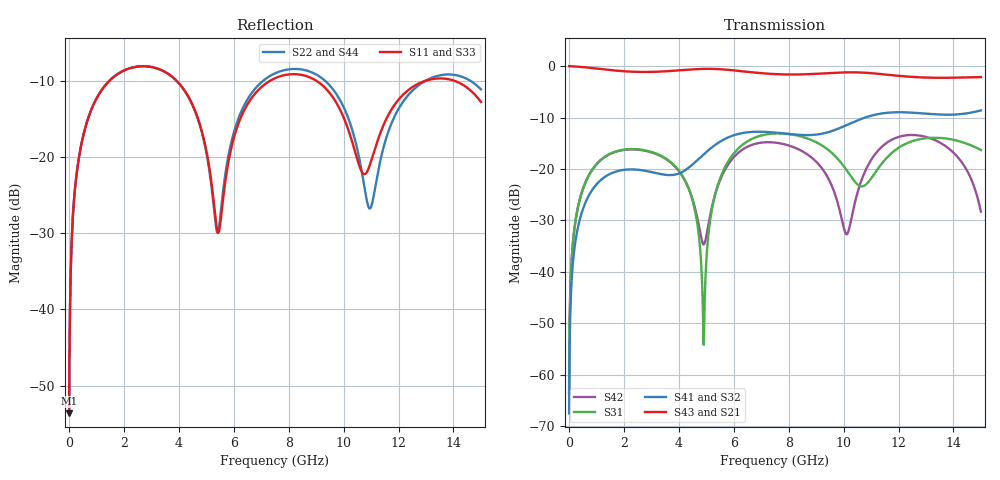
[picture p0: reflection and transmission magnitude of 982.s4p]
! Created with skrf 1.8.0 (http://scikit-rf.org).
# GHz S RI R 50.0
!freq ReS11 ImS11 ReS12 ImS12 ReS13 ImS13
! ReS14 ImS14
! ReS21 ImS21 ReS22 ImS22 ReS23 ImS23
! ReS24 ImS24
! ReS31 ImS31 ReS32 ImS32 ReS33 ImS33
! ReS34 ImS34
! ReS41 ImS41 ReS42 ImS42 ReS43 ImS43
! ReS44 ImS44
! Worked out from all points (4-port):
!   2499 points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, 5 MHz to 15 GHz, reference 50 ohm
!   strongest paths, dB at 5 MHz, 3.476 GHz, 7.19 GHz, 11.1 GHz, 15 GHz:
!     S43: 0.0, -1.0, -1.5, -1.4, -2.1
!     S21: 0.0, -1.0, -1.5, -1.4, -2.1
!     S41: -67.5, -21.1, -12.8, -9.5, -8.6
!     S32: -67.5, -21.1, -12.8, -9.5, -8.6
!     S31: -63.5, -17.8, -13.3, -21.1, -16.3
!     S42: -63.5, -17.9, -14.8, -17.5, -28.3
!   lowest |S11| = -53.6 dB at 5 MHz (marker M1), VSWR 1.00, Z = 50.2 + j0.126 ohm
!   |S11| at or under -10 dB: start of sweep to 1.476 GHz; 3.915 GHz to 7.328 GHz (3.412 GHz wide, 60.7 % of centre); 9.005 GHz to 12.99 GHz (3.988 GHz wide, 36.3 % of centre)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
0.005  0.00166 0.00126  0.9983 -0.00322  8.33e-05 0.00066  -8.09e-05 -0.000413
       0.9983 -0.00322  0.00166 0.00126  -8.09e-05 -0.000413  8.33e-05 0.00066
       8.33e-05 0.00066  -8.09e-05 -0.000413  0.00166 0.00126  0.9983 -0.00322
       -8.09e-05 -0.000413  8.33e-05 0.00066  0.9983 -0.00322  0.00166 0.00126
0.3626511  0.0307 0.0942  0.9576 -0.2305  0.0148 0.0444  -0.0122 -0.0273
           0.9576 -0.2305  0.0307 0.0942  -0.0122 -0.0273  0.0145 0.0445
           0.0148 0.0444  -0.0122 -0.0273  0.0307 0.0942  0.9576 -0.2305
           -0.0122 -0.0273  0.0145 0.0445  0.9576 -0.2305  0.0307 0.0942
1.67  0.2952 0.1671  0.4914 -0.7613  0.1377 0.0512  -0.0935 0.00343
      0.4914 -0.7613  0.296 0.1664  -0.0934 0.00341  0.1353 0.0548
      0.1377 0.0512  -0.0934 0.00341  0.2951 0.1671  0.4914 -0.7613
      -0.0935 0.00343  0.1353 0.0548  0.4914 -0.7613  0.296 0.1664
4.902043  0.0657 -0.1154  -0.8703 -0.3528  -0.00187 -0.000653  -0.0479 0.1299
          -0.8703 -0.3528  0.064 -0.1137  -0.0481 0.1298  -0.0177 -0.00522
          -0.00187 -0.000653  -0.0481 0.1298  0.0659 -0.1148  -0.8704 -0.3528
          -0.0479 0.1299  -0.0177 -0.00522  -0.8704 -0.3528  0.0634 -0.1134
8.422259  0.3456 -0.0265  0.00824 0.8298  0.1526 -0.141  0.2026 -0.0695
          0.00824 0.8298  0.3714 -0.0574  0.2027 -0.069  0.1494 -0.0295
          0.1526 -0.141  0.2027 -0.069  0.3452 -0.0254  0.00766 0.8301
          0.2026 -0.0695  0.1494 -0.0295  0.00766 0.8301  0.3706 -0.058
11.17341  0.0967 0.067  0.8457 -0.0264  -0.000863 0.0939  -0.0268 -0.3369
          0.8457 -0.0264  0.056 0.0359  -0.0267 -0.3359  0.0806 0.117
          -0.000863 0.0939  -0.0267 -0.3359  0.1044 0.0677  0.8456 -0.0254
          -0.0268 -0.3369  0.0806 0.117  0.8456 -0.0254  0.0481 0.0377
15  0.2113 -0.0901  -0.4111 -0.6649  -0.0648 -0.1388  -0.3071 0.2079
    -0.4111 -0.6649  0.24 -0.1396  -0.3093 0.2042  -0.00369 -0.0382
    -0.0648 -0.1388  -0.3093 0.2042  0.206 -0.101  -0.4078 -0.6669
    -0.3071 0.2079  -0.00369 -0.0382  -0.4078 -0.6669  0.2474 -0.1283
